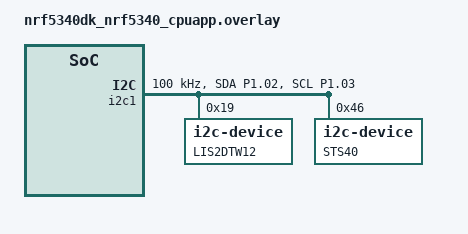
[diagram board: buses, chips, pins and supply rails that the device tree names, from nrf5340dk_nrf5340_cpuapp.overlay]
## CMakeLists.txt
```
cmake_minimum_required(VERSION 3.20.0)
find_package(Zephyr REQUIRED HINTS $ENV{ZEPHYR_BASE})

project(UART_I2C_nRf5340)

# Include the "include" directory for header files
include_directories(${CMAKE_CURRENT_SOURCE_DIR}/include)

# Include source files
target_sources(app PRIVATE src/main.c 
                           src/sts40.c 
                           src/lis2dtw12.c
                           src/uart_rx.c)
```

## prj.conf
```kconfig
# Printing fractions and console output
CONFIG_STDOUT_CONSOLE=y
CONFIG_CBPRINTF_FP_SUPPORT=y

#UART
CONFIG_STDOUT_CONSOLE=y
CONFIG_SERIAL=y
CONFIG_UART_ASYNC_API=y

# Sensor driver
CONFIG_SENSOR=y

# I2C at i2c1
CONFIG_NRFX_TWIM1=y
CONFIG_I2C=y

# Reboot
CONFIG_REBOOT=n
CONFIG_RESET_ON_FATAL_ERROR=n
```

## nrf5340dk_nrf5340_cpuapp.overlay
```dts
&pinctrl {
	i2c1_default_alt: i2c1_default_alt {
		group2 {
			psels = <NRF_PSEL(TWIM_SDA, 1, 02)>, <NRF_PSEL(TWIM_SCL, 1, 03)>;
			//bias-pull-up;
		};
	};

	i2c1_default_sleep: i2c1_default_sleep {
		group3 {
			psels = <NRF_PSEL(TWIM_SDA, 1, 02)>, <NRF_PSEL(TWIM_SCL, 1, 03)>;
			low-power-enable;
		};
	};
};


&i2c1 {
	status = "okay";
	compatible = "nordic,nrf-twim";
	pinctrl-0 = <&i2c1_default_alt>;
	pinctrl-1 = <&i2c1_default_sleep>;
	pinctrl-names = "default", "sleep";
	clock-frequency = < I2C_BITRATE_STANDARD >;
    lis2dtw12: lis2dtw12@19 {
        compatible = "i2c-device";
        status = "okay"; // https://devzone.nordicsemi.com/f/nordic-q-a/107801/usage-of-interrupts-from-i2c-device
		reg = <0x19>; // https://community.st.com/t5/mems-sensors/dts-configuration-for-lis2dw12/td-p/148824
		label = "LIS2DTW12";
	};

	sts40: sts40@46 {    /* STS40 I2C address is 0x46 */
        compatible = "i2c-device";
        status = "okay";
        reg = <0x46>;
        label = "STS40";

    };
};
```

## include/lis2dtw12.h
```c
#ifndef LIS2DTW12_H
#define LIS2DTW12_H

#include <zephyr/kernel.h>
#include <zephyr/device.h>
#include <zephyr/devicetree.h>
#include <zephyr/drivers/i2c.h>

#define I2C1_NODE_LIS2DTW12 DT_NODELABEL(lis2dtw12)

void lis2dtw12_init(void);
float lis2dtw12_read_temperature(void);
void lis2dtw12_read_data(float *x, float *y, float *z);

#endif
```

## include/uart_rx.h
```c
#ifndef UART_RX_H
#define UART_RX_H

#include <zephyr/kernel.h>
#include <zephyr/drivers/uart.h>

#define RX_BUFFER_SIZE 15

void uart_init(void);

#endif 
```

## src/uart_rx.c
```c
// uart_rx.c
#include "uart_rx.h"
#include <zephyr/sys/printk.h>

static uint8_t rxBuffer[RX_BUFFER_SIZE];
static uint8_t rxIndex = 0;

static void uart_cb(const struct device *dev, struct uart_event *evt, void *user_data)
{
	switch (evt->type) {
	case UART_TX_DONE:
		break;
	case UART_TX_ABORTED:
		break;
	case UART_RX_RDY:
		for (int i = 0; i < evt->data.rx.len; i++) {
			if (rxIndex >= RX_BUFFER_SIZE) {
				rxIndex = 0;
			}
			rxBuffer[rxIndex++] = evt->data.rx.buf[evt->data.rx.offset + i];
			if (rxIndex == RX_BUFFER_SIZE) {
				if (rxBuffer[0] == 0xAA && rxBuffer[RX_BUFFER_SIZE - 2] == 0x55) {
					uint16_t values[6];
					for (int j = 0; j < 6; j++) {
						values[j] = (rxBuffer[1 + 2 * j] << 8) | rxBuffer[2 + 2 * j];
					}
					printk("Received: %d, %d, %d, %d, %d, %d\n",
					       values[0], values[1], values[2], values[3], values[4], values[5]);
				} else {
					printk("Invalid packet format!\n");
				}
				rxIndex = 0;
			}
		}
		break;
	case UART_RX_BUF_REQUEST:
		break;
	case UART_RX_BUF_RELEASED:
		break;
	case UART_RX_DISABLED:
		uart_rx_enable(dev, rxBuffer, sizeof(rxBuffer), 100);
		break;
	case UART_RX_STOPPED:
		break;
	default:
		break;
	}
}

void uart_init(void)
{
	const struct device *uart = DEVICE_DT_GET(DT_NODELABEL(uart0));
	if (!device_is_ready(uart)) {
		printk("UART device %s is not ready\n", uart->name);
		return;
	}

	const struct uart_config uart_cfg = {
		.baudrate = 115200,
		.parity = UART_CFG_PARITY_NONE,
		.stop_bits = UART_CFG_STOP_BITS_1,
		.data_bits = UART_CFG_DATA_BITS_8,
		.flow_ctrl = UART_CFG_FLOW_CTRL_NONE
	};

	int err = uart_configure(uart, &uart_cfg);
	if (err == -ENOSYS) {
		return;
	}

	err = uart_callback_set(uart, uart_cb, NULL);
	if (err) {
		return;
	}

	uart_rx_enable(uart, rxBuffer, sizeof(rxBuffer), 100);
}
```
